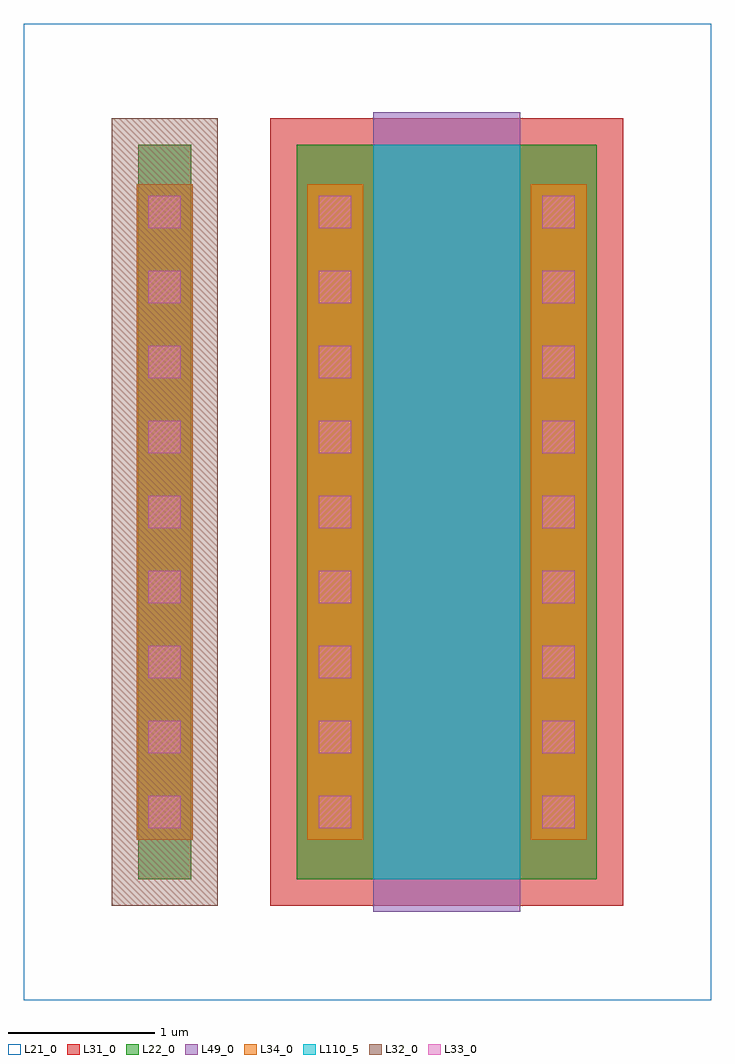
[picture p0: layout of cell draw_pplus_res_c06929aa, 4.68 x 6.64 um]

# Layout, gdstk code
import gdstk
lib = gdstk.Library(unit=1e-6, precision=1e-09)
def R(c, l, rs):  # rectangles x0, y0, x1, y1
    for r in rs: c.add(gdstk.rectangle(r[:2], r[2:], *l))
def A(c, l, x, y, w, h, nx, ny, dx, dy):  # array of equal rectangles
    R(c, l, [(x+i*dx, y+j*dy, x+i*dx+w, y+j*dy+h) for i in range(nx) for j in range(ny)])
L21_0 = (21, 0)
L22_0 = (22, 0)
L31_0 = (31, 0)
L32_0 = (32, 0)
L33_0 = (33, 0)
L34_0 = (34, 0)
L49_0 = (49, 0)
L110_5 = (110, 5)

draw_pplus_res_c06929aa = lib.new_cell('draw_pplus_res_c06929aa')
R(draw_pplus_res_c06929aa, L21_0, [(-2.38,-0.82,2.3,5.82)])
R(draw_pplus_res_c06929aa, L22_0, [(-1.6,0,-1.24,5), (-0.52,0,1.52,5)])
R(draw_pplus_res_c06929aa, L31_0, [(-0.7,-0.18,1.7,5.18)])
R(draw_pplus_res_c06929aa, L32_0, [(-1.78,-0.18,-1.06,5.18)])
A(draw_pplus_res_c06929aa, L33_0, -1.53, 0.35, 0.22, 0.22, 1, 9, 0, 0.51)
A(draw_pplus_res_c06929aa, L33_0, -0.37, 0.35, 0.22, 0.22, 1, 9, 0, 0.51)
A(draw_pplus_res_c06929aa, L33_0, 1.15, 0.35, 0.22, 0.22, 1, 9, 0, 0.51)
R(draw_pplus_res_c06929aa, L34_0, [(-1.61,0.27,-1.23,4.73), (-0.45,0.27,-0.07,4.73), (1.07,0.27,1.45,4.73)])
R(draw_pplus_res_c06929aa, L49_0, [(0,-0.22,1,5.22)])
R(draw_pplus_res_c06929aa, L110_5, [(0,0,1,5)])

lib.write_gds('draw_pplus_res_c06929aa.gds')
